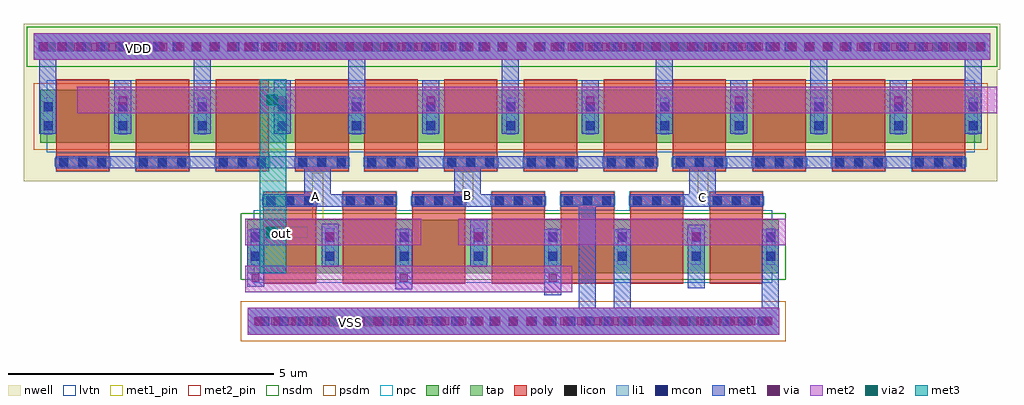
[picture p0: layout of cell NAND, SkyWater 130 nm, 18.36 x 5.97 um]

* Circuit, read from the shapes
.subckt NAND A B C VDD VSS out
XM1 out A n1 VSS sky130_fd_pr__nfet_01v8_lvt w=1 l=1 m=2
XM2 n2 B n1 VSS sky130_fd_pr__nfet_01v8_lvt w=1 l=1 m=2
XM3 VSS VSS n1 VSS sky130_fd_pr__nfet_01v8_lvt w=1 l=1
XM4 n2 C VSS VSS sky130_fd_pr__nfet_01v8_lvt w=1 l=1 m=2
XM5 out A VDD VDD sky130_fd_pr__pfet_01v8_lvt w=1 l=1 m=4
XM6 out B VDD VDD sky130_fd_pr__pfet_01v8_lvt w=1 l=1 m=4
XM7 out C VDD VDD sky130_fd_pr__pfet_01v8_lvt w=1 l=1 m=4
.ends

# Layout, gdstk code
import gdstk
lib = gdstk.Library(unit=1e-6, precision=5e-09)
def R(c, l, rs):  # rectangles x0, y0, x1, y1
    for r in rs: c.add(gdstk.rectangle(r[:2], r[2:], *l))
def A(c, l, x, y, w, h, nx, ny, dx, dy):  # array of equal rectangles
    R(c, l, [(x+i*dx, y+j*dy, x+i*dx+w, y+j*dy+h) for i in range(nx) for j in range(ny)])
nwell = (64, 20)
diff = (65, 20)
tap = (65, 44)
poly = (66, 20)
licon = (66, 44)
li1 = (67, 20)
mcon = (67, 44)
met1_pin = (68, 16)
met1 = (68, 20)
via = (68, 44)
met2_pin = (69, 16)
met2 = (69, 20)
via2 = (69, 44)
met3 = (70, 20)
nsdm = (93, 44)
psdm = (94, 20)
npc = (95, 20)
lvtn = (125, 44)

pfet = lib.new_cell('pfet')
R(pfet, nwell, [(-0.305,-0.72,6.405,1.38)])
R(pfet, diff, [(0,0,6.1,1)])
A(pfet, poly, 0.3, -0.53, 1, 0.33, 4, 1, 1.5, 0)
A(pfet, poly, 0.3, -0.2, 1, 1.4, 4, 1, 1.5, 0)
A(pfet, licon, 0.355, -0.45, 0.17, 0.17, 3, 1, 0.36, 0)
A(pfet, licon, 1.855, -0.45, 0.17, 0.17, 3, 1, 0.36, 0)
A(pfet, licon, 3.355, -0.45, 0.17, 0.17, 3, 1, 0.36, 0)
A(pfet, licon, 4.855, -0.45, 0.17, 0.17, 3, 1, 0.36, 0)
A(pfet, licon, 1.465, 0.235, 0.17, 0.17, 3, 2, 1.5, 0.36)
R(pfet, licon, [(0.065,0.235,0.235,0.405), (5.865,0.235,6.035,0.405), (0.065,0.595,0.235,0.765), (5.865,0.595,6.035,0.765)])
A(pfet, li1, 0.275, -0.45, 1.05, 0.17, 4, 1, 1.5, 0)
A(pfet, li1, 1.465, 0.155, 0.17, 0.69, 3, 1, 1.5, 0)
R(pfet, li1, [(0.065,0.155,0.235,0.845), (5.865,0.155,6.035,0.845)])
A(pfet, mcon, 0.355, -0.45, 0.17, 0.17, 3, 1, 0.36, 0)
A(pfet, mcon, 1.855, -0.45, 0.17, 0.17, 3, 1, 0.36, 0)
A(pfet, mcon, 3.355, -0.45, 0.17, 0.17, 3, 1, 0.36, 0)
A(pfet, mcon, 4.855, -0.45, 0.17, 0.17, 3, 1, 0.36, 0)
A(pfet, mcon, 1.465, 0.235, 0.17, 0.17, 3, 2, 1.5, 0.36)
R(pfet, mcon, [(0.065,0.235,0.235,0.405), (5.865,0.235,6.035,0.405), (0.065,0.595,0.235,0.765), (5.865,0.595,6.035,0.765)])
A(pfet, met1, 0.295, -0.48, 1.01, 0.23, 4, 1, 1.5, 0)
A(pfet, met1, 1.435, 0.175, 0.23, 0.65, 3, 1, 1.5, 0)
R(pfet, met1, [(0.035,0.175,0.265,0.825), (5.835,0.175,6.065,0.825)])
R(pfet, psdm, [(-0.125,-0.125,6.225,1.125)])
A(pfet, npc, 0.29, -0.54, 1.02, 0.35, 4, 1, 1.5, 0)
R(pfet, lvtn, [(0.12,-0.18,5.98,1.18)])

vias_gen = lib.new_cell('vias_gen')
R(vias_gen, nwell, [(-0.18,-0.18,18.18,0.68)])
R(vias_gen, tap, [(0,0,18,0.5)])
A(vias_gen, licon, 0.245, 0.165, 0.17, 0.17, 52, 1, 0.34, 0)
R(vias_gen, li1, [(0,0,18,0.5)])
A(vias_gen, mcon, 0.095, 0.165, 0.17, 0.17, 50, 1, 0.36, 0)
R(vias_gen, met1, [(0,0,18,0.5)])
A(vias_gen, via, 0.125, 0.175, 0.15, 0.15, 56, 1, 0.32, 0)
R(vias_gen, met2, [(0,0,18,0.5)])
R(vias_gen, nsdm, [(-0.125,-0.125,18.125,0.625)])

nfet_1 = lib.new_cell('nfet$1')
R(nfet_1, diff, [(0,0,1.6,1)])
R(nfet_1, poly, [(0.3,-0.2,1.3,1.2), (0.3,1.2,1.3,1.53)])
A(nfet_1, licon, 0.355, 1.28, 0.17, 0.17, 3, 1, 0.36, 0)
R(nfet_1, licon, [(0.065,0.235,0.235,0.405), (1.365,0.235,1.535,0.405), (0.065,0.595,0.235,0.765), (1.365,0.595,1.535,0.765)])
R(nfet_1, li1, [(0.065,0.155,0.235,0.845), (1.365,0.155,1.535,0.845), (0.275,1.28,1.325,1.45)])
A(nfet_1, mcon, 0.355, 1.28, 0.17, 0.17, 3, 1, 0.36, 0)
R(nfet_1, mcon, [(0.065,0.235,0.235,0.405), (1.365,0.235,1.535,0.405), (0.065,0.595,0.235,0.765), (1.365,0.595,1.535,0.765)])
R(nfet_1, met1, [(0.035,0.175,0.265,0.825), (1.335,0.175,1.565,0.825), (0.295,1.25,1.305,1.48)])
R(nfet_1, nsdm, [(-0.125,-0.125,1.725,1.125)])
R(nfet_1, npc, [(0.29,1.19,1.31,1.54)])
R(nfet_1, lvtn, [(0.12,-0.18,1.48,1.18)])

nfet = lib.new_cell('nfet')
R(nfet, diff, [(0,0,3.1,1)])
R(nfet, poly, [(0.3,-0.2,1.3,1.2), (1.8,-0.2,2.8,1.2), (0.3,1.2,1.3,1.53), (1.8,1.2,2.8,1.53)])
A(nfet, licon, 0.065, 0.235, 0.17, 0.17, 3, 2, 1.4, 0.36)
A(nfet, licon, 0.355, 1.28, 0.17, 0.17, 3, 1, 0.36, 0)
A(nfet, licon, 1.855, 1.28, 0.17, 0.17, 3, 1, 0.36, 0)
A(nfet, li1, 0.065, 0.155, 0.17, 0.69, 3, 1, 1.4, 0)
R(nfet, li1, [(0.275,1.28,1.325,1.45), (1.775,1.28,2.825,1.45)])
A(nfet, mcon, 0.065, 0.235, 0.17, 0.17, 3, 2, 1.4, 0.36)
A(nfet, mcon, 0.355, 1.28, 0.17, 0.17, 3, 1, 0.36, 0)
A(nfet, mcon, 1.855, 1.28, 0.17, 0.17, 3, 1, 0.36, 0)
A(nfet, met1, 0.035, 0.175, 0.23, 0.65, 3, 1, 1.4, 0)
R(nfet, met1, [(0.295,1.25,1.305,1.48), (1.795,1.25,2.805,1.48)])
R(nfet, nsdm, [(-0.125,-0.125,3.225,1.125)])
R(nfet, npc, [(0.29,1.19,1.31,1.54), (1.79,1.19,2.81,1.54)])
R(nfet, lvtn, [(0.12,-0.18,2.98,1.18)])

vias_gen_1 = lib.new_cell('vias_gen$1')
R(vias_gen_1, tap, [(0,0,10,0.5)])
A(vias_gen_1, licon, 0.155, 0.165, 0.17, 0.17, 29, 1, 0.34, 0)
R(vias_gen_1, li1, [(0,0,10,0.5)])
A(vias_gen_1, mcon, 0.235, 0.165, 0.17, 0.17, 27, 1, 0.36, 0)
R(vias_gen_1, met1, [(0,0,10,0.5)])
A(vias_gen_1, via, 0.125, 0.175, 0.15, 0.15, 31, 1, 0.32, 0)
R(vias_gen_1, met2, [(0,0,10,0.5)])
R(vias_gen_1, psdm, [(-0.125,-0.125,10.125,0.625)])

vias_gen_2 = lib.new_cell('vias_gen$2')
R(vias_gen_2, met1, [(0,0,0.32,0.26)])
R(vias_gen_2, via, [(0.085,0.055,0.235,0.205)])
R(vias_gen_2, met2, [(0,0,0.32,0.26)])

vias_gen_4 = lib.new_cell('vias_gen$4')
R(vias_gen_4, met2, [(0,0,0.37,0.33)])
R(vias_gen_4, via2, [(0.085,0.065,0.285,0.265)])
R(vias_gen_4, met3, [(0,0,0.37,0.33)])

nand = lib.new_cell('NAND')
nand.add(gdstk.FlexPath([(4.25,2.375),(4.25,3.38)], 0.32, ends="flush", simple_path=True, layer=68, datatype=20))  # met1
nand.add(gdstk.FlexPath([(5.65,2.375),(5.65,4.23)], 0.32, ends="flush", simple_path=True, layer=68, datatype=20))  # met1
nand.add(gdstk.FlexPath([(2.75,2.375),(2.75,4.23)], 0.32, ends="flush", simple_path=True, layer=68, datatype=20))  # met1
nand.add(gdstk.FlexPath([(-0.16,2.375),(-0.16,4.23)], 0.32, ends="flush", simple_path=True, layer=68, datatype=20))  # met1
nand.add(gdstk.FlexPath([(8.54,2.375),(8.54,4.23)], 0.32, ends="flush", simple_path=True, layer=68, datatype=20))  # met1
nand.add(gdstk.FlexPath([(11.44,2.37),(11.44,4.225)], 0.32, ends="flush", simple_path=True, layer=68, datatype=20))  # met1
nand.add(gdstk.FlexPath([(14.35,2.37),(14.35,4.225)], 0.32, ends="flush", simple_path=True, layer=68, datatype=20))  # met1
nand.add(gdstk.FlexPath([(17.25,2.37),(17.25,4.225)], 0.32, ends="flush", simple_path=True, layer=68, datatype=20))  # met1
nand.add(gdstk.FlexPath([(1.25,2.375),(1.25,3.38)], 0.32, ends="flush", simple_path=True, layer=68, datatype=20))  # met1
nand.add(gdstk.FlexPath([(7.05,2.375),(7.05,3.38)], 0.32, ends="flush", simple_path=True, layer=68, datatype=20))  # met1
nand.add(gdstk.FlexPath([(10.05,2.375),(10.05,3.38)], 0.32, ends="flush", simple_path=True, layer=68, datatype=20))  # met1
nand.add(gdstk.FlexPath([(12.84,2.375),(12.84,3.38)], 0.32, ends="flush", simple_path=True, layer=68, datatype=20))  # met1
nand.add(gdstk.FlexPath([(15.84,2.375),(15.84,3.38)], 0.32, ends="flush", simple_path=True, layer=68, datatype=20))  # met1
nand.add(gdstk.FlexPath([(0.92,1.835),(1.725,1.835)], 0.23, ends="flush", simple_path=True, layer=68, datatype=20))  # met1
nand.add(gdstk.FlexPath([(2.32,1.835),(3.125,1.835)], 0.23, ends="flush", simple_path=True, layer=68, datatype=20))  # met1
nand.add(gdstk.FlexPath([(3.84,1.835),(4.645,1.835)], 0.23, ends="flush", simple_path=True, layer=68, datatype=20))  # met1
nand.add(gdstk.FlexPath([(6.685,1.835),(7.49,1.835)], 0.23, ends="flush", simple_path=True, layer=68, datatype=20))  # met1
nand.add(gdstk.FlexPath([(8.085,1.835),(8.89,1.835)], 0.23, ends="flush", simple_path=True, layer=68, datatype=20))  # met1
nand.add(gdstk.FlexPath([(9.605,1.835),(10.41,1.835)], 0.23, ends="flush", simple_path=True, layer=68, datatype=20))  # met1
nand.add(gdstk.FlexPath([(12.545,1.835),(13.35,1.835)], 0.23, ends="flush", simple_path=True, layer=68, datatype=20))  # met1
nand.add(gdstk.FlexPath([(13.945,1.835),(14.75,1.835)], 0.23, ends="flush", simple_path=True, layer=68, datatype=20))  # met1
nand.add(gdstk.FlexPath([(15.465,1.835),(16.27,1.835)], 0.23, ends="flush", simple_path=True, layer=68, datatype=20))  # met1
nand.add(gdstk.FlexPath([(9.99,-1.01),(9.99,1.23)], 0.32, ends="flush", simple_path=True, layer=68, datatype=20))  # met1
nand.add(gdstk.FlexPath([(4.83,1.115),(5.635,1.115)], 0.23, ends="flush", simple_path=True, layer=68, datatype=20))  # met1
nand.add(gdstk.FlexPath([(7.605,1.115),(8.41,1.115)], 0.23, ends="flush", simple_path=True, layer=68, datatype=20))  # met1
nand.add(gdstk.FlexPath([(11.695,1.115),(12.5,1.115)], 0.23, ends="flush", simple_path=True, layer=68, datatype=20))  # met1
nand.add(gdstk.FlexPath([(12.04,-0.53),(12.04,0.66)], 0.32, ends="flush", simple_path=True, layer=68, datatype=20))  # met1
nand.add(gdstk.FlexPath([(9.345,0.575),(9.345,-0.67)], 0.32, ends="flush", simple_path=True, layer=68, datatype=20))  # met1
nand.add(gdstk.FlexPath([(7.945,-0.13),(7.945,0.75)], 0.32, ends="flush", simple_path=True, layer=68, datatype=20))  # met1
nand.add(gdstk.FlexPath([(6.54,0.575),(6.54,-0.55)], 0.32, ends="flush", simple_path=True, layer=68, datatype=20))  # met1
nand.add(gdstk.FlexPath([(3.75,0.575),(3.75,-0.51)], 0.32, ends="flush", simple_path=True, layer=68, datatype=20))  # met1
nand.add(gdstk.FlexPath([(10.645,0.575),(10.645,-1.36)], 0.32, ends="flush", simple_path=True, layer=68, datatype=20))  # met1
nand.add(gdstk.FlexPath([(13.435,-1.275),(13.435,0.575)], 0.32, ends="flush", simple_path=True, layer=68, datatype=20))  # met1
nand.add(gdstk.FlexPath([(5.155,-0.13),(5.155,0.68)], 0.32, ends="flush", simple_path=True, layer=68, datatype=20))  # met1
nand.add(gdstk.FlexPath([(4.92,1),(4.92,1.92)], 0.5, ends="flush", simple_path=True, layer=68, datatype=20))  # met1
nand.add(gdstk.FlexPath([(7.74,1.01),(7.74,1.92)], 0.5, ends="flush", simple_path=True, layer=68, datatype=20))  # met1
nand.add(gdstk.FlexPath([(12.16,1.04),(12.16,1.92)], 0.5, ends="flush", simple_path=True, layer=68, datatype=20))  # met1
nand.add(gdstk.FlexPath([(3.555,-0.36),(9.705,-0.36)], 0.5, ends="flush", simple_path=True, layer=69, datatype=20))  # met2
nand.add(gdstk.FlexPath([(3.555,0.52),(6.865,0.52)], 0.5, ends="flush", simple_path=True, layer=69, datatype=20))  # met2
nand.add(gdstk.FlexPath([(7.565,0.52),(13.72,0.52)], 0.5, ends="flush", simple_path=True, layer=69, datatype=20))  # met2
nand.add(gdstk.FlexPath([(0.4,3.01),(17.705,3.01)], 0.5, ends="flush", simple_path=True, layer=69, datatype=20))  # met2
nand.add(gdstk.FlexPath([(4.08,-0.25),(4.08,3.4)], 0.5, ends="flush", simple_path=True, layer=70, datatype=20))  # met3
nand.add(gdstk.FlexPath([(7.745,1.66),(7.745,1.13)], 0.2, ends="flush", simple_path=True, layer=68, datatype=16))  # met1_pin
nand.add(gdstk.FlexPath([(12.165,1.69),(12.165,1.19)], 0.2, ends="flush", simple_path=True, layer=68, datatype=16))  # met1_pin
nand.add(gdstk.FlexPath([(0.92,4.01),(2.26,4.01)], 0.2, ends="flush", simple_path=True, layer=68, datatype=16))  # met1_pin
nand.add(gdstk.FlexPath([(4.915,-1.155),(6.165,-1.155)], 0.2, ends="flush", simple_path=True, layer=68, datatype=16))  # met1_pin
nand.add(gdstk.FlexPath([(4.92,1.64),(4.92,0.76),(4.92,0.76)], 0.2, ends="flush", simple_path=True, layer=68, datatype=16))  # met1_pin
nand.add(gdstk.FlexPath([(3.895,0.52),(4.73,0.52)], 0.2, ends="flush", simple_path=True, layer=69, datatype=16))  # met2_pin
nand.add(gdstk.Reference(pfet, (-0.3,2.2)))
nand.add(gdstk.Reference(pfet, (5.5,2.2)))
nand.add(gdstk.Reference(pfet, (11.3,2.2)))
nand.add(gdstk.Reference(vias_gen, (-0.425,3.76)))
nand.add(gdstk.Reference(nfet_1, (9.195,-0.25)))
nand.add(gdstk.Reference(nfet, (10.495,-0.25)))
nand.add(gdstk.Reference(nfet, (6.395,-0.25)))
nand.add(gdstk.Reference(nfet, (3.595,-0.25)))
nand.add(gdstk.Reference(vias_gen_1, (3.6,-1.405)))
nand.add(gdstk.Reference(vias_gen_2, (3.59,-0.47)))
nand.add(gdstk.Reference(vias_gen_2, (6.38,-0.47)))
nand.add(gdstk.Reference(vias_gen_2, (4.995,0.31)))
nand.add(gdstk.Reference(vias_gen_2, (9.185,-0.47)))
nand.add(gdstk.Reference(vias_gen_2, (7.785,0.31)))
nand.add(gdstk.Reference(vias_gen_2, (11.875,0.31)))
nand.add(gdstk.Reference(vias_gen_2, (1.09,2.87)))
nand.add(gdstk.Reference(vias_gen_2, (4.09,2.87)))
nand.add(gdstk.Reference(vias_gen_2, (6.89,2.87)))
nand.add(gdstk.Reference(vias_gen_2, (9.89,2.87)))
nand.add(gdstk.Reference(vias_gen_2, (12.68,2.87)))
nand.add(gdstk.Reference(vias_gen_2, (15.68,2.87)))
nand.add(gdstk.Reference(vias_gen_4, (3.88,2.84)))
nand.add(gdstk.Reference(vias_gen_4, (3.87,0.35)))
nand.add(gdstk.Label('B', (7.745,1.205), layer=68, texttype=16))
nand.add(gdstk.Label('C', (12.165,1.18), layer=68, texttype=16))
nand.add(gdstk.Label('VDD', (1.55,3.98), layer=68, texttype=16))
nand.add(gdstk.Label('VSS', (5.535,-1.17), layer=68, texttype=16))
nand.add(gdstk.Label('A', (4.87,1.2), layer=68, texttype=16))
nand.add(gdstk.Label('out', (4.235,0.5), layer=69, texttype=16))

lib.write_gds('NAND.gds')
